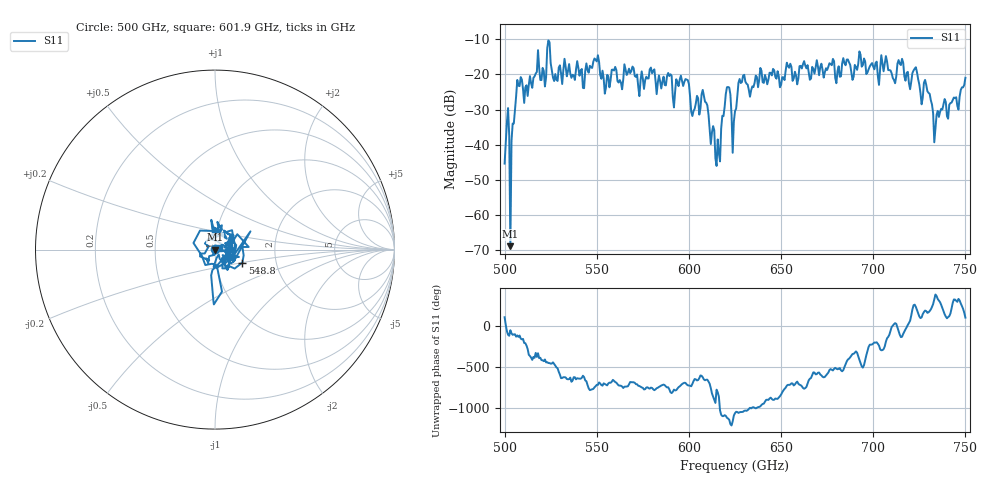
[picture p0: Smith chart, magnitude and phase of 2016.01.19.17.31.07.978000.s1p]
!Created with skrf (http://scikit-rf.org).
# GHz S RI R 50.0
!freq ReS11 ImS11
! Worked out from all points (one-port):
!   401 points, 500 GHz to 750 GHz, reference 50 ohm
!   lowest |S11| = -69.0 dB at 503.1 GHz (marker M1), VSWR 1.00, Z = 50 - j0.0289 ohm
!   |S11| at or under -10 dB: start of sweep to end of sweep
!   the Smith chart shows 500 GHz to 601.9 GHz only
!   S11 on the Smith chart (normalised r, x): 500 GHz: 1.00, +0.01; 548.8 GHz: 1.34, -0.20; 601.9 GHz: 1.05, +0.02
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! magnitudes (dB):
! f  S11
! 500 GHz  -45.4
! 501.2 GHz  -33.7
! 503.1 GHz  -69.0
! 504.4 GHz  -34.0
! 505.6 GHz  -30.2
! 508.1 GHz  -23.3
! 521.2 GHz  -19.0
! 524.4 GHz  -10.8
! 527.5 GHz  -19.9
! 531.2 GHz  -22.7
! 548.8 GHz  -15.5
! 562.5 GHz  -21.6
! 593.8 GHz  -22.2
! 598.8 GHz  -21.5
! 601.9 GHz  -31.9
! 608.1 GHz  -26.1
! 615.6 GHz  -38.5
! 620.6 GHz  -23.7
! 625 GHz  -30.5
! 628.8 GHz  -22.2
! 656.2 GHz  -21.8
! 687.5 GHz  -17.3
! 711.2 GHz  -21.6
! 715 GHz  -17.3
! 718.8 GHz  -19.3
! 728.8 GHz  -23.0
! 734.4 GHz  -31.5
! 750 GHz  -21.0
